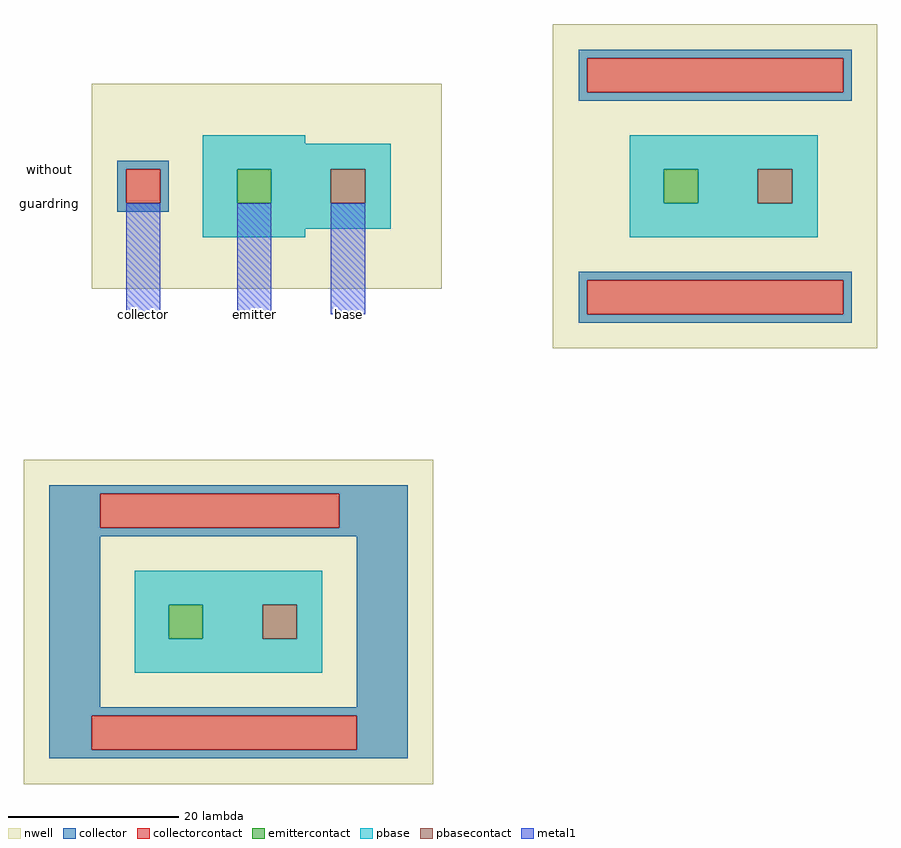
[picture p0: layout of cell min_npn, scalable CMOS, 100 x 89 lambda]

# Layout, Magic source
magic
tech scmos
<< nwell >>
rect 8 58 49 82
rect 62 51 100 89
rect 0 0 48 38
<< metal1 >>
rect 12 55 16 68
rect 25 55 29 68
rect 36 55 40 68
<< collector >>
rect 65 85 97 86
rect 65 81 66 85
rect 96 81 97 85
rect 65 80 97 81
rect 11 72 17 73
rect 11 68 12 72
rect 16 68 17 72
rect 11 67 17 68
rect 65 59 97 60
rect 65 55 66 59
rect 96 55 97 59
rect 65 54 97 55
rect 3 34 45 35
rect 3 30 9 34
rect 37 30 45 34
rect 3 29 45 30
rect 3 9 9 29
rect 39 9 45 29
rect 3 8 45 9
rect 3 4 8 8
rect 39 4 45 8
rect 3 3 45 4
<< pbase >>
rect 21 75 33 76
rect 21 72 43 75
rect 21 68 25 72
rect 29 68 36 72
rect 40 68 43 72
rect 21 65 43 68
rect 71 72 93 76
rect 71 68 75 72
rect 79 68 86 72
rect 90 68 93 72
rect 21 64 33 65
rect 71 64 93 68
rect 13 21 35 25
rect 13 17 17 21
rect 21 17 28 21
rect 32 17 35 21
rect 13 13 35 17
<< collectorcontact >>
rect 66 81 96 85
rect 12 68 16 72
rect 66 55 96 59
rect 9 30 37 34
rect 8 4 39 8
<< emittercontact >>
rect 25 68 29 72
rect 75 68 79 72
rect 17 17 21 21
<< pbasecontact >>
rect 36 68 40 72
rect 86 68 90 72
rect 28 17 32 21
<< labels >>
rlabel space 3 72 3 72 3 without
rlabel space 3 68 3 68 3 guardring
rlabel metal1 12 55 16 55 5 collector
rlabel metal1 25 55 29 55 5 emitter
rlabel metal1 36 55 40 55 5 base
<< end >>
